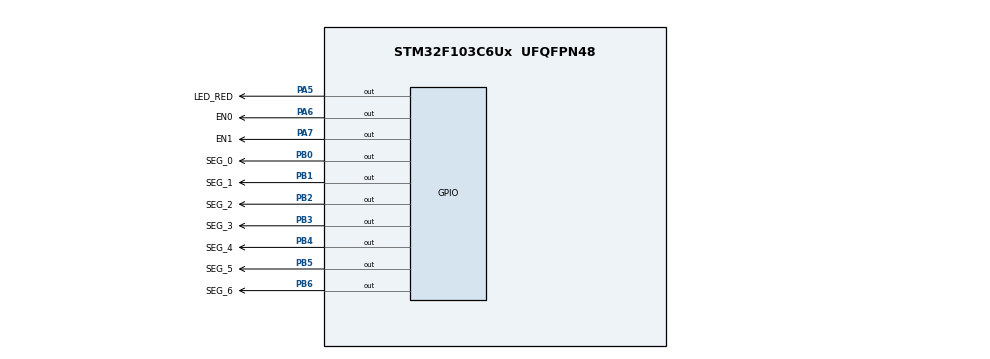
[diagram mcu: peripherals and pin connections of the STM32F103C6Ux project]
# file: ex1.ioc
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Mcu.Family=STM32F1
Mcu.Name=STM32F103C6Ux
Mcu.Package=UFQFPN48
NVIC.PriorityGroup=NVIC_PRIORITYGROUP_4
NVIC.TIM2_IRQn=true\:0\:0\:false\:false\:true\:true\:true
PA5.GPIO_Label=LED_RED
PA5.Signal=GPIO_Output
PA6.GPIO_Label=EN0
PA6.Signal=GPIO_Output
PA7.GPIO_Label=EN1
PA7.Signal=GPIO_Output
PB0.GPIO_Label=SEG_0
PB0.Signal=GPIO_Output
PB1.GPIO_Label=SEG_1
PB1.Signal=GPIO_Output
PB2.GPIO_Label=SEG_2
PB2.Signal=GPIO_Output
PB3.GPIO_Label=SEG_3
PB3.Signal=GPIO_Output
PB4.GPIO_Label=SEG_4
PB4.Signal=GPIO_Output
PB5.GPIO_Label=SEG_5
PB5.Signal=GPIO_Output
PB6.GPIO_Label=SEG_6
PB6.Signal=GPIO_Output
ProjectManager.HeapSize=0x200
ProjectManager.StackSize=0x400
ProjectManager.TargetToolchain=STM32CubeIDE
RCC.APB1Freq_Value=8000000
RCC.APB2Freq_Value=8000000
TIM2.Period=9
TIM2.Prescaler=7999
VP_SYS_VS_ND.Mode=No_Debug
VP_TIM2_VS_ClockSourceINT.Mode=Internal
board=custom

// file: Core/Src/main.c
/* USER CODE BEGIN Header */
/**
  ******************************************************************************
  * @file           : main.c
  * @brief          : Main program body
  ******************************************************************************
  * @attention
  *
  * <h2><center>&copy; Copyright (c) 2022 STMicroelectronics.
  * All rights reserved.</center></h2>
  *
  * This software component is licensed by ST under BSD 3-Clause license,
  * the "License"; You may not use this file except in compliance with the
  * License. You may obtain a copy of the License at:
  *                        opensource.org/licenses/BSD-3-Clause
  *
  ******************************************************************************
  */
/* USER CODE END Header */
#include "main.h"

TIM_HandleTypeDef htim2;

void SystemClock_Config(void);
static void MX_GPIO_Init(void);
static void MX_TIM2_Init(void);

/* USER CODE BEGIN 0 */
void display7SEG(int num) {
	//num is the time displayed on the 7-segment led
	if (num == 0)
			{
		HAL_GPIO_WritePin(SEG_0_GPIO_Port, SEG_0_Pin, RESET);
		HAL_GPIO_WritePin(SEG_1_GPIO_Port, SEG_1_Pin, RESET);
		HAL_GPIO_WritePin(SEG_2_GPIO_Port, SEG_2_Pin, RESET);
		HAL_GPIO_WritePin(SEG_3_GPIO_Port, SEG_3_Pin, RESET);
		HAL_GPIO_WritePin(SEG_4_GPIO_Port, SEG_4_Pin, RESET);
		HAL_GPIO_WritePin(SEG_5_GPIO_Port, SEG_5_Pin, RESET);
		HAL_GPIO_WritePin(SEG_6_GPIO_Port, SEG_6_Pin, SET);
	}
	if (num == 1) {
		HAL_GPIO_WritePin(SEG_0_GPIO_Port, SEG_0_Pin, SET);
		HAL_GPIO_WritePin(SEG_1_GPIO_Port, SEG_1_Pin, RESET);
		HAL_GPIO_WritePin(SEG_2_GPIO_Port, SEG_2_Pin, RESET);
		HAL_GPIO_WritePin(SEG_3_GPIO_Port, SEG_3_Pin, SET);
		HAL_GPIO_WritePin(SEG_4_GPIO_Port, SEG_4_Pin, SET);
		HAL_GPIO_WritePin(SEG_5_GPIO_Port, SEG_5_Pin, SET);
		HAL_GPIO_WritePin(SEG_6_GPIO_Port, SEG_6_Pin, SET);
	}
	if (num == 2) {
		HAL_GPIO_WritePin(SEG_0_GPIO_Port, SEG_0_Pin, RESET);
		HAL_GPIO_WritePin(SEG_1_GPIO_Port, SEG_1_Pin, RESET);
		HAL_GPIO_WritePin(SEG_2_GPIO_Port, SEG_2_Pin, SET);
		HAL_GPIO_WritePin(SEG_3_GPIO_Port, SEG_3_Pin, RESET);
		HAL_GPIO_WritePin(SEG_4_GPIO_Port, SEG_4_Pin, RESET);
		HAL_GPIO_WritePin(SEG_5_GPIO_Port, SEG_5_Pin, SET);
		HAL_GPIO_WritePin(SEG_6_GPIO_Port, SEG_6_Pin, RESET);
	}
	if (num == 3) {
		HAL_GPIO_WritePin(SEG_0_GPIO_Port, SEG_0_Pin, RESET);
		HAL_GPIO_WritePin(SEG_1_GPIO_Port, SEG_1_Pin, RESET);
		HAL_GPIO_WritePin(SEG_2_GPIO_Port, SEG_2_Pin, RESET);
		HAL_GPIO_WritePin(SEG_3_GPIO_Port, SEG_3_Pin, RESET);
		HAL_GPIO_WritePin(SEG_4_GPIO_Port, SEG_4_Pin, SET);
		HAL_GPIO_WritePin(SEG_5_GPIO_Port, SEG_5_Pin, SET);
		HAL_GPIO_WritePin(SEG_6_GPIO_Port, SEG_6_Pin, RESET);
	}
	if (num == 4) {
		HAL_GPIO_WritePin(SEG_0_GPIO_Port, SEG_0_Pin, SET);
		HAL_GPIO_WritePin(SEG_1_GPIO_Port, SEG_1_Pin, RESET);
		HAL_GPIO_WritePin(SEG_2_GPIO_Port, SEG_2_Pin, RESET);
		HAL_GPIO_WritePin(SEG_3_GPIO_Port, SEG_3_Pin, SET);
		HAL_GPIO_WritePin(SEG_4_GPIO_Port, SEG_4_Pin, SET);
		HAL_GPIO_WritePin(SEG_5_GPIO_Port, SEG_5_Pin, RESET);
		HAL_GPIO_WritePin(SEG_6_GPIO_Port, SEG_6_Pin, RESET);
	}
	if (num == 5) {
		HAL_GPIO_WritePin(SEG_0_GPIO_Port, SEG_0_Pin, RESET);
		HAL_GPIO_WritePin(SEG_1_GPIO_Port, SEG_1_Pin, SET);
		HAL_GPIO_WritePin(SEG_2_GPIO_Port, SEG_2_Pin, RESET);
		HAL_GPIO_WritePin(SEG_3_GPIO_Port, SEG_3_Pin, RESET);
		HAL_GPIO_WritePin(SEG_4_GPIO_Port, SEG_4_Pin, SET);
		HAL_GPIO_WritePin(SEG_5_GPIO_Port, SEG_5_Pin, RESET);
		HAL_GPIO_WritePin(SEG_6_GPIO_Port, SEG_6_Pin, RESET);
	}
	if (num == 6) {
		HAL_GPIO_WritePin(SEG_0_GPIO_Port, SEG_0_Pin, RESET);
		HAL_GPIO_WritePin(SEG_1_GPIO_Port, SEG_1_Pin, SET);
		HAL_GPIO_WritePin(SEG_2_GPIO_Port, SEG_2_Pin, RESET);
		HAL_GPIO_WritePin(SEG_3_GPIO_Port, SEG_3_Pin, RESET);
		HAL_GPIO_WritePin(SEG_4_GPIO_Port, SEG_4_Pin, RESET);
		HAL_GPIO_WritePin(SEG_5_GPIO_Port, SEG_5_Pin, RESET);
		HAL_GPIO_WritePin(SEG_6_GPIO_Port, SEG_6_Pin, RESET);
	}
	if (num == 7) {
		HAL_GPIO_WritePin(SEG_0_GPIO_Port, SEG_0_Pin, RESET);
		HAL_GPIO_WritePin(SEG_1_GPIO_Port, SEG_1_Pin, RESET);
		HAL_GPIO_WritePin(SEG_2_GPIO_Port, SEG_2_Pin, RESET);
		HAL_GPIO_WritePin(SEG_3_GPIO_Port, SEG_3_Pin, SET);
		HAL_GPIO_WritePin(SEG_4_GPIO_Port, SEG_4_Pin, SET);
		HAL_GPIO_WritePin(SEG_5_GPIO_Port, SEG_5_Pin, SET);
		HAL_GPIO_WritePin(SEG_6_GPIO_Port, SEG_6_Pin, SET);
	}
	if (num == 8) {
		HAL_GPIO_WritePin(SEG_0_GPIO_Port, SEG_0_Pin, RESET);
		HAL_GPIO_WritePin(SEG_1_GPIO_Port, SEG_1_Pin, RESET);
		HAL_GPIO_WritePin(SEG_2_GPIO_Port, SEG_2_Pin, RESET);
		HAL_GPIO_WritePin(SEG_3_GPIO_Port, SEG_3_Pin, RESET);
		HAL_GPIO_WritePin(SEG_4_GPIO_Port, SEG_4_Pin, RESET);
		HAL_GPIO_WritePin(SEG_5_GPIO_Port, SEG_5_Pin, RESET);
		HAL_GPIO_WritePin(SEG_6_GPIO_Port, SEG_6_Pin, RESET);
	}
	if (num == 9) {
		HAL_GPIO_WritePin(SEG_0_GPIO_Port, SEG_0_Pin, RESET);
		HAL_GPIO_WritePin(SEG_1_GPIO_Port, SEG_1_Pin, RESET);
		HAL_GPIO_WritePin(SEG_2_GPIO_Port, SEG_2_Pin, RESET);
		HAL_GPIO_WritePin(SEG_3_GPIO_Port, SEG_3_Pin, RESET);
		HAL_GPIO_WritePin(SEG_4_GPIO_Port, SEG_4_Pin, SET);
		HAL_GPIO_WritePin(SEG_5_GPIO_Port, SEG_5_Pin, RESET);
		HAL_GPIO_WritePin(SEG_6_GPIO_Port, SEG_6_Pin, RESET);
	}
}
void clear7SEG()
{
	HAL_GPIO_WritePin(SEG_0_GPIO_Port, SEG_0_Pin, SET);
	HAL_GPIO_WritePin(SEG_1_GPIO_Port, SEG_1_Pin, SET);
	HAL_GPIO_WritePin(SEG_2_GPIO_Port, SEG_2_Pin, SET);
	HAL_GPIO_WritePin(SEG_3_GPIO_Port, SEG_3_Pin, SET);
	HAL_GPIO_WritePin(SEG_4_GPIO_Port, SEG_4_Pin, SET);
	HAL_GPIO_WritePin(SEG_5_GPIO_Port, SEG_5_Pin, SET);
	HAL_GPIO_WritePin(SEG_6_GPIO_Port, SEG_6_Pin, SET);
}
/* USER CODE END 0 */

int main(void)
{

  /* MCU Configuration--------------------------------------------------------*/

  /* Reset of all peripherals, Initializes the Flash interface and the Systick. */
  HAL_Init();

  /* Configure the system clock */
  SystemClock_Config();

  /* Initialize all configured peripherals */
  MX_GPIO_Init();
  MX_TIM2_Init();
  HAL_TIM_Base_Start_IT(&htim2);

  /* Infinite loop */
  while (1)
  {
  }
}

void SystemClock_Config(void)
{
  RCC_OscInitTypeDef RCC_OscInitStruct = {0};
  RCC_ClkInitTypeDef RCC_ClkInitStruct = {0};

  /** Initializes the RCC Oscillators according to the specified parameters
  * in the RCC_OscInitTypeDef structure.
  */
  RCC_OscInitStruct.OscillatorType = RCC_OSCILLATORTYPE_HSI;
  RCC_OscInitStruct.HSIState = RCC_HSI_ON;
  RCC_OscInitStruct.HSICalibrationValue = RCC_HSICALIBRATION_DEFAULT;
  RCC_OscInitStruct.PLL.PLLState = RCC_PLL_NONE;
  if (HAL_RCC_OscConfig(&RCC_OscInitStruct) != HAL_OK)
  {
    Error_Handler();
  }
  /** Initializes the CPU, AHB and APB buses clocks
  */
  RCC_ClkInitStruct.ClockType = RCC_CLOCKTYPE_HCLK|RCC_CLOCKTYPE_SYSCLK
                              |RCC_CLOCKTYPE_PCLK1|RCC_CLOCKTYPE_PCLK2;
  RCC_ClkInitStruct.SYSCLKSource = RCC_SYSCLKSOURCE_HSI;
  RCC_ClkInitStruct.AHBCLKDivider = RCC_SYSCLK_DIV1;
  RCC_ClkInitStruct.APB1CLKDivider = RCC_HCLK_DIV1;
  RCC_ClkInitStruct.APB2CLKDivider = RCC_HCLK_DIV1;

  if (HAL_RCC_ClockConfig(&RCC_ClkInitStruct, FLASH_LATENCY_0) != HAL_OK)
  {
    Error_Handler();
  }
}

static void MX_TIM2_Init(void)
{

  TIM_ClockConfigTypeDef sClockSourceConfig = {0};
  TIM_MasterConfigTypeDef sMasterConfig = {0};

  htim2.Instance = TIM2;
  htim2.Init.Prescaler = 7999;
  htim2.Init.CounterMode = TIM_COUNTERMODE_UP;
  htim2.Init.Period = 9;
  htim2.Init.ClockDivision = TIM_CLOCKDIVISION_DIV1;
  htim2.Init.AutoReloadPreload = TIM_AUTORELOAD_PRELOAD_DISABLE;
  if (HAL_TIM_Base_Init(&htim2) != HAL_OK)
  {
    Error_Handler();
  }
  sClockSourceConfig.ClockSource = TIM_CLOCKSOURCE_INTERNAL;
  if (HAL_TIM_ConfigClockSource(&htim2, &sClockSourceConfig) != HAL_OK)
  {
    Error_Handler();
  }
  sMasterConfig.MasterOutputTrigger = TIM_TRGO_RESET;
  sMasterConfig.MasterSlaveMode = TIM_MASTERSLAVEMODE_DISABLE;
  if (HAL_TIMEx_MasterConfigSynchronization(&htim2, &sMasterConfig) != HAL_OK)
  {
    Error_Handler();
  }

}

static void MX_GPIO_Init(void)
{
  GPIO_InitTypeDef GPIO_InitStruct = {0};

  /* GPIO Ports Clock Enable */
  __HAL_RCC_GPIOA_CLK_ENABLE();
  __HAL_RCC_GPIOB_CLK_ENABLE();

  /*Configure GPIO pin Output Level */
  HAL_GPIO_WritePin(GPIOA, LED_RED_Pin|EN0_Pin|EN1_Pin, GPIO_PIN_RESET);

  /*Configure GPIO pin Output Level */
  HAL_GPIO_WritePin(GPIOB, SEG_0_Pin|SEG_1_Pin|SEG_2_Pin|SEG_3_Pin
                          |SEG_4_Pin|SEG_5_Pin|SEG_6_Pin, GPIO_PIN_RESET);

  /*Configure GPIO pins : LED_RED_Pin EN0_Pin EN1_Pin */
  GPIO_InitStruct.Pin = LED_RED_Pin|EN0_Pin|EN1_Pin;
  GPIO_InitStruct.Mode = GPIO_MODE_OUTPUT_PP;
  GPIO_InitStruct.Pull = GPIO_NOPULL;
  GPIO_InitStruct.Speed = GPIO_SPEED_FREQ_LOW;
  HAL_GPIO_Init(GPIOA, &GPIO_InitStruct);

  /*Configure GPIO pins : SEG_0_Pin SEG_1_Pin SEG_2_Pin SEG_3_Pin
                           SEG_4_Pin SEG_5_Pin SEG_6_Pin */
  GPIO_InitStruct.Pin = SEG_0_Pin|SEG_1_Pin|SEG_2_Pin|SEG_3_Pin
                          |SEG_4_Pin|SEG_5_Pin|SEG_6_Pin;
  GPIO_InitStruct.Mode = GPIO_MODE_OUTPUT_PP;
  GPIO_InitStruct.Pull = GPIO_NOPULL;
  GPIO_InitStruct.Speed = GPIO_SPEED_FREQ_LOW;
  HAL_GPIO_Init(GPIOB, &GPIO_InitStruct);

}

/* USER CODE BEGIN 4 */
int counter = 100;
void HAL_TIM_PeriodElapsedCallback(TIM_HandleTypeDef *htim){
	counter--;
	if (counter > 50){
		HAL_GPIO_WritePin(EN0_GPIO_Port, EN0_Pin, RESET);
		HAL_GPIO_WritePin(EN1_GPIO_Port, EN1_Pin, SET);
		display7SEG(1);
	}
	else {
		HAL_GPIO_WritePin(EN0_GPIO_Port, EN0_Pin, SET);
		HAL_GPIO_WritePin(EN1_GPIO_Port, EN1_Pin, RESET);
		display7SEG(2);
	}
	if (counter ==0){
		HAL_GPIO_WritePin(LED_RED_GPIO_Port,LED_RED_Pin, SET);
		HAL_GPIO_WritePin(LED_RED_GPIO_Port,LED_RED_Pin, RESET);
		counter=100;
	}
}
/* USER CODE END 4 */

void Error_Handler(void)
{
  __disable_irq();
  while (1)
  {
  }
}

/************************ (C) COPYRIGHT STMicroelectronics *****END OF FILE****/
